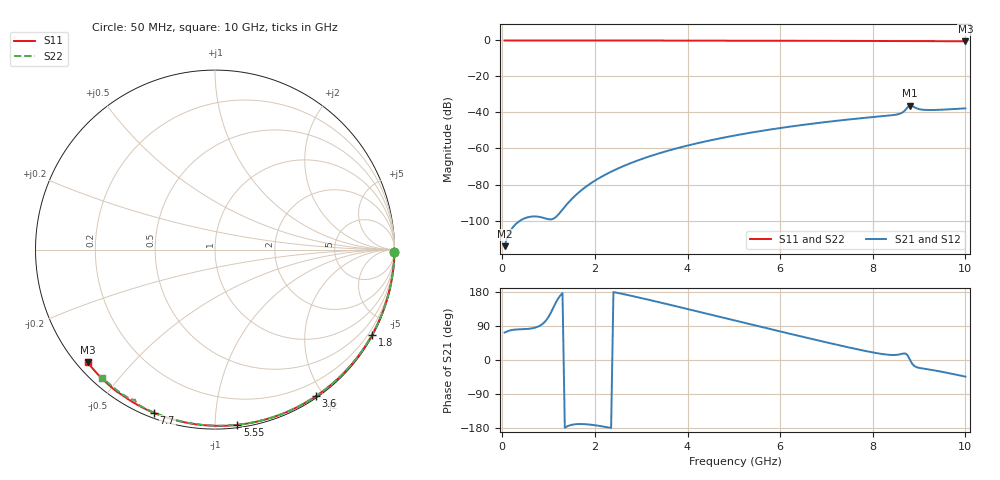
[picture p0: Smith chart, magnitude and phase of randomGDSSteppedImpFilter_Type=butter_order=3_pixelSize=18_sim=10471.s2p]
! freq	dB(S11)	phase(S11)	dB(S12)	phase(S12)
!  dB(S21)	phase(S21)	dB(S22)	phase(S22)
!S-par simulation data
#  GHz  S  DB  R 50
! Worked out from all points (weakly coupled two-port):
!   200 points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, 50 MHz to 10 GHz, reference 50 ohm
!   highest |S21| = -36.18 dB at 8.8 GHz (marker M1); lowest = -114.2 dB at 50 MHz (marker M2)
!   lowest |S11| = -0.5 dB at 10 GHz (marker M3), VSWR 37.32, Z = 1.53 - j18.9 ohm
!   |S11| at or under -10 dB: nowhere
!   |S22| runs from -0.5 to 0.0 dB; largest |S21 - S12| = 0
!   S11 on the Smith chart (normalised r, x): 50 MHz: open; 1.8 GHz: 0.03, -3.95; 3.6 GHz: 0.02, -1.90; 5.55 GHz: 0.02, -1.14; 7.7 GHz: 0.02, -0.69; 10 GHz: 0.03, -0.38
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0.05  -0.00 -0.8  -114.25 72.5  -114.25 72.5  -0.00 -0.8
0.9  -0.02 -14.3  -98.62 98.4  -98.62 98.4  -0.02 -13.6
1.75  -0.04 -27.6  -82.32 -169.1  -82.32 -169.1  -0.03 -26.2
1.8  -0.04 -28.4  -81.34 -169.5  -81.34 -169.5  -0.03 -26.9
1.9  -0.04 -29.9  -79.53 -170.6  -79.53 -170.6  -0.04 -28.4
2.25  -0.05 -35.3  -74.19 -177.1  -74.19 -177.1  -0.04 -33.5
2.65  -0.05 -41.4  -69.40 173.0  -69.40 173.0  -0.05 -39.3
3  -0.06 -46.6  -65.94 163.5  -65.94 163.5  -0.06 -44.3
3.4  -0.07 -52.5  -62.58 152.1  -62.58 152.1  -0.07 -49.9
3.6  -0.07 -55.5  -61.08 146.3  -61.08 146.3  -0.07 -52.7
4.3  -0.09 -65.5  -56.56 125.7  -56.56 125.7  -0.09 -62.2
5.05  -0.12 -76.0  -52.64 103.4  -52.64 103.4  -0.11 -72.2
5.55  -0.14 -82.7  -50.42 88.6  -50.42 88.6  -0.13 -78.7
6.7  -0.19 -97.8  -46.20 55.1  -46.20 55.1  -0.18 -93.1
7.7  -0.25 -110.5  -43.31 27.4  -43.31 27.4  -0.24 -105.1
8.35  -0.31 -118.5  -41.72 13.7  -41.72 13.7  -0.29 -112.8
8.6  -0.33 -121.5  -40.53 15.4  -40.53 15.4  -0.32 -115.9
8.65  -0.34 -122.1  -39.85 16.8  -39.85 16.8  -0.34 -116.6
8.8  -0.34 -123.8  -36.18 1.6  -36.18 1.6  -0.47 -118.0
9  -0.35 -126.4  -38.12 -20.8  -38.12 -20.8  -0.39 -119.8
9.15  -0.37 -128.2  -38.60 -23.8  -38.60 -23.8  -0.38 -121.6
10  -0.47 -138.5  -37.71 -43.9  -37.71 -43.9  -0.45 -131.3
